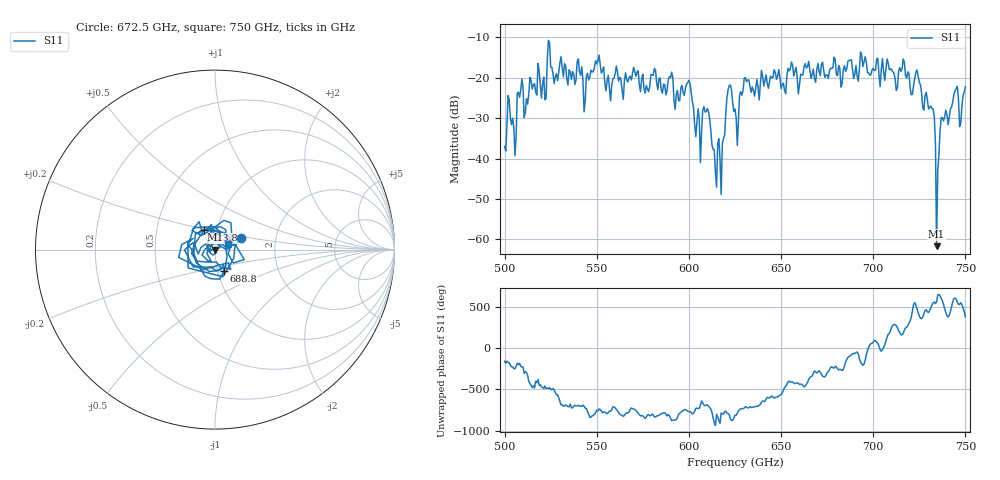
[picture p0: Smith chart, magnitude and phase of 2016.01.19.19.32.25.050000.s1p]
!Created with skrf (http://scikit-rf.org).
# GHz S RI R 50.0
!freq ReS11 ImS11
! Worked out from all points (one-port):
!   401 points, 500 GHz to 750 GHz, reference 50 ohm
!   lowest |S11| = -61.6 dB at 734.4 GHz (marker M1), VSWR 1.00, Z = 49.9 - j0.0339 ohm
!   |S11| at or under -10 dB: start of sweep to end of sweep
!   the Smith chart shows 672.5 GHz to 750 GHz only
!   S11 on the Smith chart (normalised r, x): 672.5 GHz: 1.32, +0.17; 688.8 GHz: 1.07, -0.26; 723.8 GHz: 0.87, +0.19; 750 GHz: 1.15, +0.07
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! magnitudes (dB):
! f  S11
! 500 GHz  -37.0
! 503.1 GHz  -30.0
! 505 GHz  -32.3
! 508.1 GHz  -24.9
! 511.9 GHz  -25.2
! 521.2 GHz  -19.9
! 524.4 GHz  -11.3
! 531.2 GHz  -17.5
! 562.5 GHz  -19.9
! 590 GHz  -20.1
! 593.8 GHz  -23.2
! 600 GHz  -20.7
! 605 GHz  -27.7
! 609.4 GHz  -28.4
! 616.2 GHz  -35.1
! 621.9 GHz  -21.9
! 625 GHz  -27.8
! 631.2 GHz  -21.0
! 656.2 GHz  -17.0
! 672.5 GHz  -16.1
! 687.5 GHz  -15.7
! 688.8 GHz  -17.8
! 718.8 GHz  -18.6
! 723.8 GHz  -18.1
! 731.9 GHz  -27.7
! 734.4 GHz  -61.6
! 738.1 GHz  -30.7
! 750 GHz  -22.2
